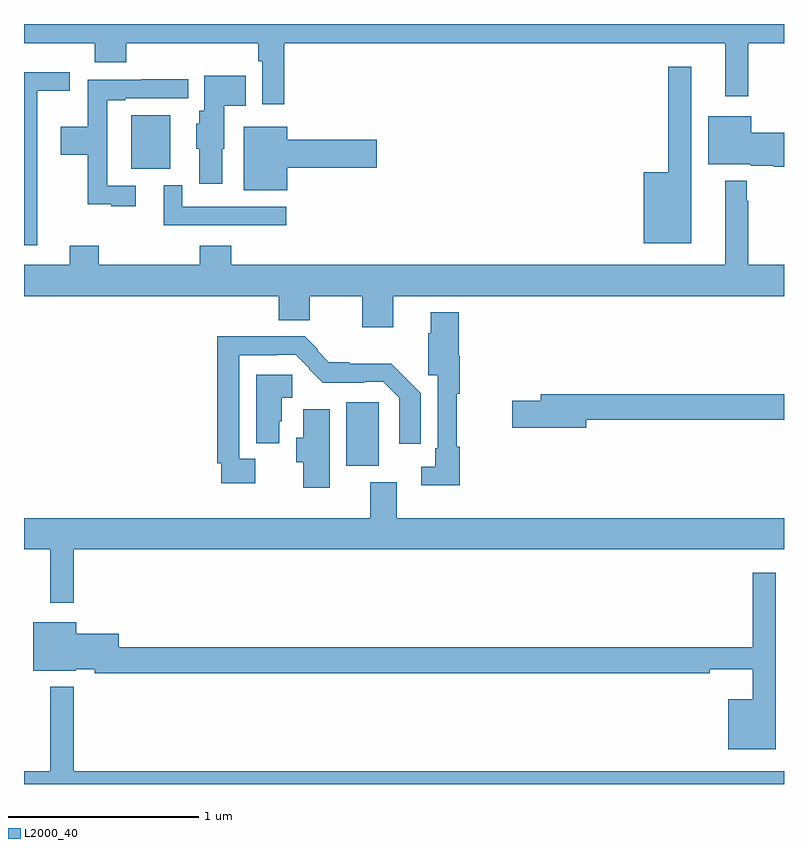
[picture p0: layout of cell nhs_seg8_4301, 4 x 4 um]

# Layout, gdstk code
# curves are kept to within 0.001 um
import gdstk
lib = gdstk.Library(unit=1e-6, precision=1e-09)
def R(c, l, rs):  # rectangles x0, y0, x1, y1
    for r in rs: c.add(gdstk.rectangle(r[:2], r[2:], *l))
def P(c, l, *ps):  # polygons
    for p in ps: c.add(gdstk.Polygon(p, *l))
L2000_40 = (2000, 40)

nhs_seg8_4301 = lib.new_cell('nhs_seg8_4301')
R(nhs_seg8_4301, L2000_40, [(374.696,1147.574,374.866,1147.908), (373.565,1149.137,373.771,1149.421)])
P(nhs_seg8_4301, L2000_40, [(374.369,1149.8),(376.691,1149.8),(376.691,1149.519),(376.813,1149.519),(376.813,1149.8),(377,1149.8),(377,1149.9),(373,1149.9),(373,1149.8),(373.373,1149.8),(373.373,1149.698),(373.538,1149.698),(373.538,1149.8),(374.233,1149.8),(374.233,1149.704),(374.253,1149.704),(374.253,1149.477),(374.369,1149.477)],
  [(376.513,1149.676),(376.392,1149.676),(376.392,1149.121),(376.262,1149.121),(376.262,1148.747),(376.513,1148.747)],
  [(373.069,1149.548),(373.24,1149.548),(373.24,1149.646),(373,1149.646),(373,1148.736),(373.069,1148.736)],
  [(374.044,1149.243),(374.053,1149.243),(374.053,1149.47),(374.168,1149.47),(374.168,1149.628),(373.949,1149.628),(373.949,1149.444),(373.922,1149.444),(373.922,1149.375),(373.907,1149.375),(373.907,1149.243),(373.922,1149.243),(373.922,1149.06),(374.044,1149.06)],
  [(373.588,1149.048),(373.437,1149.048),(373.437,1149.498),(373.534,1149.498),(373.534,1149.51),(373.864,1149.51),(373.864,1149.608),(373.621,1149.608),(373.621,1149.606),(373.336,1149.606),(373.336,1149.358),(373.194,1149.358),(373.194,1149.211),(373.336,1149.211),(373.336,1148.951),(373.46,1148.951),(373.46,1148.94),(373.588,1148.94)],
  [(377,1149.327),(376.828,1149.327),(376.828,1149.415),(376.601,1149.415),(376.601,1149.161),(376.824,1149.161),(376.824,1149.155),(376.946,1149.155),(376.946,1149.149),(377,1149.149)],
  [(374.386,1149.143),(374.857,1149.143),(374.857,1149.29),(374.386,1149.29),(374.386,1149.358),(374.156,1149.358),(374.156,1149.026),(374.386,1149.026)],
  [(374.944,1148.468),(377,1148.468),(377,1148.632),(376.813,1148.632),(376.813,1148.969),(376.805,1148.969),(376.805,1149.076),(376.691,1149.076),(376.691,1148.632),(374.09,1148.632),(374.09,1148.734),(373.925,1148.734),(373.925,1148.632),(373.394,1148.632),(373.394,1148.734),(373.241,1148.734),(373.241,1148.632),(373,1148.632),(373,1148.468),(374.342,1148.468),(374.342,1148.342),(374.503,1148.342),(374.503,1148.468),(374.78,1148.468),(374.78,1148.304),(374.944,1148.304)],
  [(374.38,1148.937),(373.833,1148.937),(373.833,1149.052),(373.736,1149.052),(373.736,1148.841),(374.38,1148.841)],
  [(375.293,1147.676),(375.278,1147.676),(375.278,1147.955),(375.293,1147.955),(375.293,1148.155),(375.287,1148.155),(375.287,1148.383),(375.14,1148.383),(375.14,1148.273),(375.128,1148.273),(375.128,1148.052),(375.177,1148.052),(375.177,1147.666),(375.165,1147.666),(375.165,1147.569),(375.09,1147.569),(375.09,1147.472),(375.293,1147.472)],
  [(374.216,1147.612),(374.133,1147.612),(374.133,1148.156),(374.33,1148.156),(374.33,1148.16),(374.43,1148.16),(374.502,1148.088),(374.499,1148.085),(374.573,1148.012),(374.792,1148.012),(374.792,1148.016),(374.892,1148.016),(374.976,1147.932),(374.976,1147.692),(375.088,1147.692),(375.088,1147.956),(374.933,1148.113),(374.713,1148.113),(374.713,1148.121),(374.605,1148.121),(374.543,1148.183),(374.547,1148.187),(374.477,1148.257),(374.017,1148.257),(374.017,1147.588),(374.037,1147.588),(374.037,1147.484),(374.216,1147.484)],
  [(374.344,1147.809),(374.356,1147.809),(374.356,1147.934),(374.413,1147.934),(374.413,1148.054),(374.222,1148.054),(374.222,1147.693),(374.344,1147.693)],
  [(375.958,1147.816),(377,1147.816),(377,1147.952),(375.719,1147.952),(375.719,1147.916),(375.57,1147.916),(375.57,1147.774),(375.958,1147.774)],
  [(374.608,1147.873),(374.471,1147.873),(374.471,1147.723),(374.432,1147.723),(374.432,1147.594),(374.471,1147.594),(374.471,1147.458),(374.608,1147.458)],
  [(373.261,1147.136),(377,1147.136),(377,1147.3),(374.962,1147.3),(374.962,1147.489),(374.822,1147.489),(374.822,1147.3),(373,1147.3),(373,1147.136),(373.139,1147.136),(373.139,1146.855),(373.261,1146.855)],
  [(376.957,1147.012),(376.836,1147.012),(376.836,1146.62),(373.498,1146.62),(373.498,1146.691),(373.276,1146.691),(373.276,1146.751),(373.049,1146.751),(373.049,1146.497),(373.272,1146.497),(373.272,1146.503),(373.372,1146.503),(373.372,1146.484),(376.61,1146.484),(376.61,1146.503),(376.836,1146.503),(376.836,1146.346),(376.706,1146.346),(376.706,1146.083),(376.957,1146.083)],
  [(373.261,1146.412),(373.139,1146.412),(373.139,1145.968),(373,1145.968),(373,1145.9),(377,1145.9),(377,1145.968),(373.261,1145.968)])

lib.write_gds('nhs_seg8_4301.gds')
